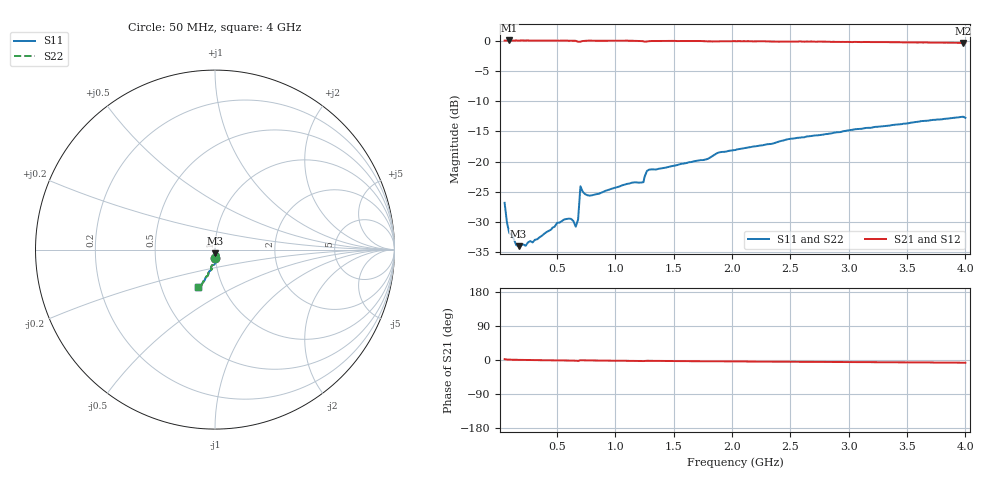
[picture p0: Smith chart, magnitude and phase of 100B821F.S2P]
!  American Technical Ceramics  Date:  3/13/98
!  One Norden Lane
!  Huntington Station,  NY.  11746-2102
!  Tel:  (516) 547-5700  Fax:  (516) 547-5748
!  Part Number  100b821f
!  Description: Porcelain, High Q, Low ESR
!  Application: Bypass, Coupling, Timing, Feedback
!  Tuning, Impedance Match, Blocking
# GHZ S DB R 50
! Freq  |S11|  S11 Ph  |S21|  S21 Ph  |S12|  S12 Ph  |S22|  S22 Ph
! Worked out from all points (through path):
!   201 points, 50 MHz to 4 GHz, reference 50 ohm
!   highest |S21| = 0.01 dB at 90 MHz (marker M1); lowest = -0.4 dB at 3.98 GHz (marker M2)
!   group delay of S21, straight-line fit = 5.19 ps
!   lowest |S11| = -34.0 dB at 170 MHz (marker M3), VSWR 1.04, Z = 49.9 - j2 ohm
!   |S11| at or under -10 dB: start of sweep to end of sweep
!   |S22| runs from -34.0 to -12.6 dB; largest |S21 - S12| = 0
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0.05  -26.81 -90.9  -0.02 2.2  -0.02 2.2  -26.81 -90.9
0.07  -30.03 -93.0  -0.02 1.3  -0.02 1.3  -30.03 -93.0
0.09  -31.81 -90.7  0.01 1.0  0.01 1.0  -31.81 -90.7
0.15  -33.80 -92.3  0.01 0.7  0.01 0.7  -33.80 -92.3
0.17  -33.97 -91.5  -0.01 0.3  -0.01 0.3  -33.97 -91.5
0.29  -33.35 -91.4  -0.01 -0.2  -0.01 -0.2  -33.35 -91.4
0.56  -29.57 -94.4  -0.02 -1.0  -0.02 -1.0  -29.57 -94.4
0.62  -29.46 -94.2  -0.03 -1.5  -0.03 -1.5  -29.46 -94.2
0.66  -30.75 -86.9  -0.05 -2.0  -0.05 -2.0  -30.75 -86.9
0.68  -29.56 -53.3  -0.20 -2.3  -0.20 -2.3  -29.56 -53.3
0.7  -24.08 -76.9  -0.20 -0.5  -0.20 -0.5  -24.08 -76.9
0.72  -24.99 -90.4  -0.08 -0.8  -0.08 -0.8  -24.99 -90.4
0.8  -25.56 -95.9  -0.03 -1.4  -0.03 -1.4  -25.56 -95.9
1.1  -23.68 -98.7  -0.02 -2.2  -0.02 -2.2  -23.68 -98.7
1.24  -23.40 -92.7  -0.12 -2.8  -0.12 -2.8  -23.40 -92.7
1.27  -21.54 -92.2  -0.16 -2.1  -0.16 -2.1  -21.54 -92.2
1.37  -21.19 -100.0  -0.07 -2.4  -0.07 -2.4  -21.19 -100.0
2.03  -18.08 -104.7  -0.11 -3.7  -0.11 -3.7  -18.08 -104.7
2.7  -15.71 -108.2  -0.18 -4.8  -0.18 -4.8  -15.71 -108.2
3.35  -14.05 -110.4  -0.28 -6.0  -0.28 -6.0  -14.05 -110.4
3.98  -12.58 -112.2  -0.39 -7.2  -0.39 -7.2  -12.58 -112.2
4  -12.76 -113.8  -0.35 -7.2  -0.35 -7.2  -12.76 -113.8
